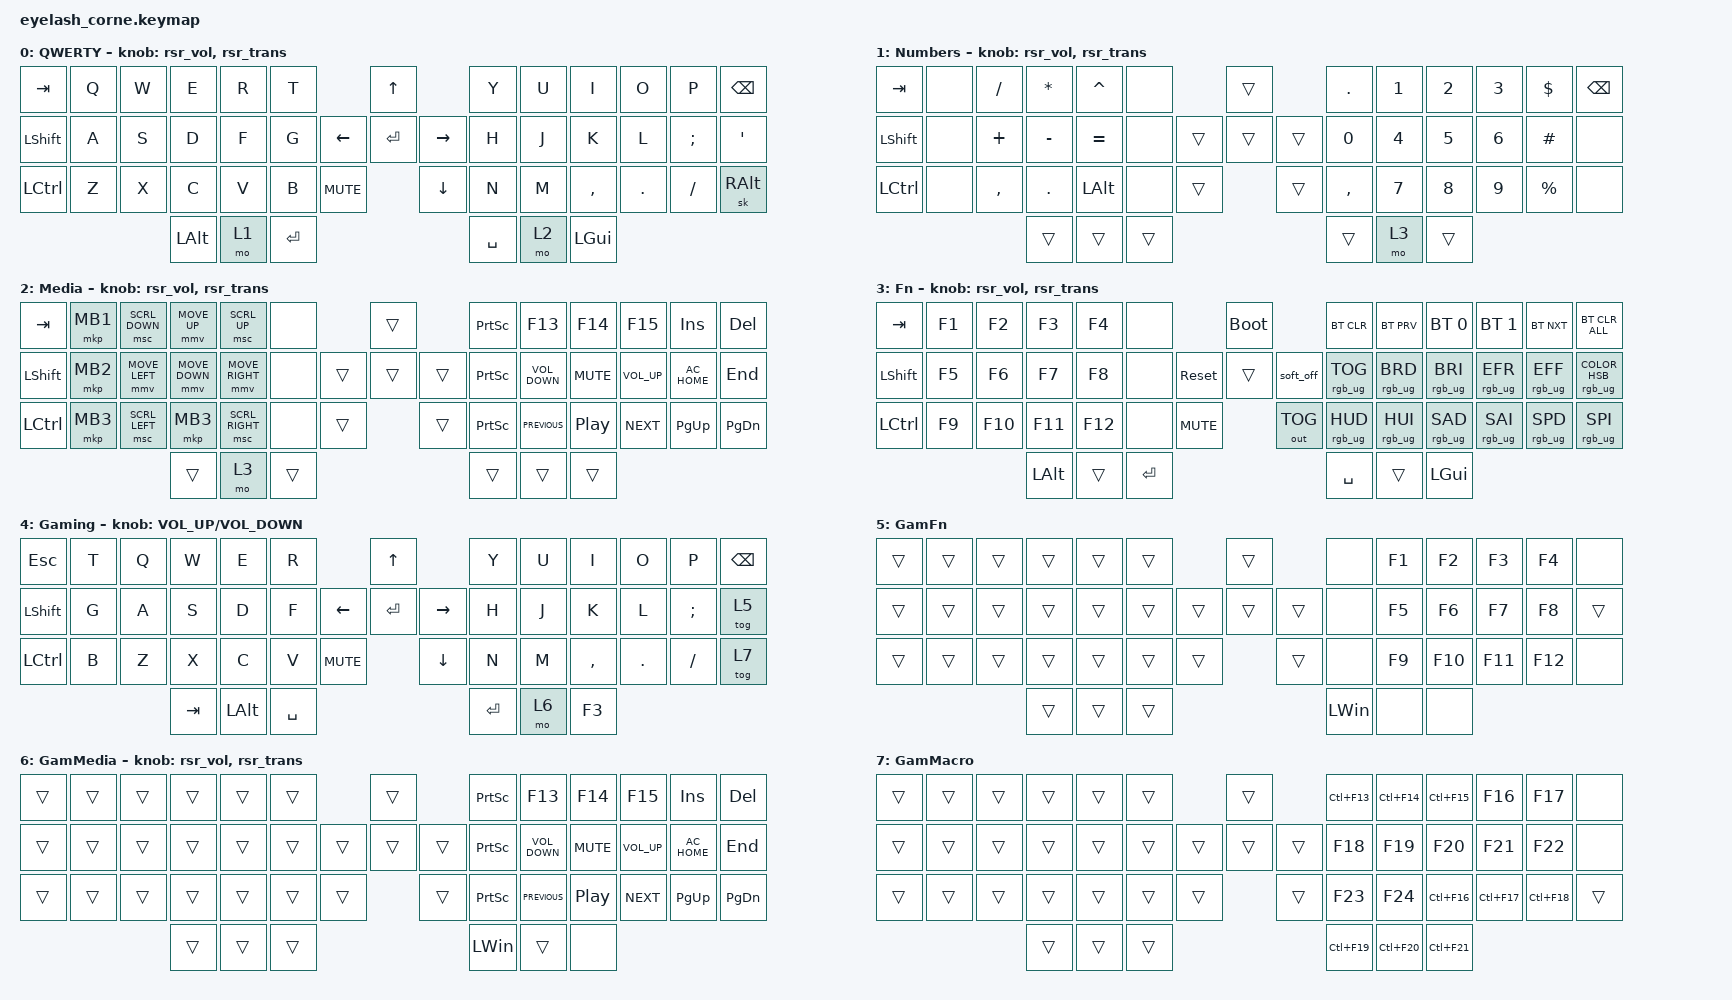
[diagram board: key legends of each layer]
#define ZMK_POINTING_DEFAULT_MOVE_VAL 1200  // 600
#define ZMK_POINTING_DEFAULT_SCRL_VAL 25   // 10

#include <input/processors.dtsi>
#include <zephyr/dt-bindings/input/input-event-codes.h>
#include <behaviors/runtime-sensor-rotate.dtsi>
#include <behaviors.dtsi>
#include <dt-bindings/zmk/bt.h>
#include <dt-bindings/zmk/keys.h>
#include <dt-bindings/zmk/outputs.h>
#include <dt-bindings/zmk/pointing.h>
#include <dt-bindings/zmk/rgb.h>

&mmv_input_listener { input-processors = <&zip_xy_scaler 2 1>; };

&msc_input_listener { input-processors = <&zip_scroll_scaler 2 1>; };

&msc {
    acceleration-exponent = <1>;      // 0
    time-to-max-speed-ms = <100>;       // 300
    delay-ms = <0>;                   // 0
};

&mmv {
    time-to-max-speed-ms = <500>;
    acceleration-exponent = <1>;
    trigger-period-ms = <16>;
};

&soft_off { hold-time-ms = <2000>; };

/ {
    behaviors {
        td0: td0 {
            compatible = "zmk,behavior-tap-dance";
            display-name = "Shift/Caps Lock Tap Dance";
            #binding-cells = <0>;
            bindings = <&kp LEFT_SHIFT>, <&kp CAPS>;
        };
    };

    rgb_encoder: rgb_encoder {
        compatible = "zmk,behavior-sensor-rotate";
        #sensor-binding-cells = <0>;
        bindings = <&rgb_ug RGB_BRI>, <&rgb_ug RGB_BRD>;
    };

    scroll_encoder: scroll_encoder {
        compatible = "zmk,behavior-sensor-rotate";
        #sensor-binding-cells = <0>;
        bindings = <&msc SCRL_DOWN>, <&msc SCRL_UP>;

        tap-ms = <100>;
    };

    behaviors {
        rsr_vol: rsr_vol {
            compatible = "zmk,behavior-runtime-sensor-rotate";
            #sensor-binding-cells = <0>;
            tap-ms = <5>;
            cw-binding = <&kp C_VOL_UP>;
            ccw-binding = <&kp C_VOL_DN>;
        };

        rsr_trans: rsr_trans {
            compatible = "zmk,behavior-runtime-sensor-rotate";
            #sensor-binding-cells = <0>;
            tap-ms = <0>;
        };
    };

    combos {
        compatible = "zmk,combos";

        softoff {
            bindings = <&soft_off>;
            key-positions = <1 15 29>;
        };

        leftpar {
            bindings = <&kp LEFT_PARENTHESIS>;
            key-positions = <16 17>;
            timeout-ms = <60>;
            require-prior-idle-ms = <30>;
            layers = <0>;
        };

        rightpar {
            bindings = <&kp RIGHT_PARENTHESIS>;
            key-positions = <23 24>;
            timeout-ms = <60>;
            require-prior-idle-ms = <30>;
            layers = <0>;
        };

        leftbrack {
            bindings = <&kp LEFT_BRACKET>;
            key-positions = <3 4>;
            timeout-ms = <35>;
            require-prior-idle-ms = <150>;
            layers = <0>;
        };

        rightbrack {
            bindings = <&kp RIGHT_BRACKET>;
            key-positions = <8 9>;
            timeout-ms = <60>;
            require-prior-idle-ms = <30>;
            layers = <0>;
        };

        leftbrace {
            bindings = <&kp LEFT_BRACE>;
            key-positions = <31 32>;
            timeout-ms = <60>;
            require-prior-idle-ms = <30>;
            layers = <0>;
        };

        rightbrace {
            bindings = <&kp RIGHT_BRACE>;
            key-positions = <37 38>;
            timeout-ms = <60>;
            require-prior-idle-ms = <30>;
            layers = <0>;
        };

        graveaccent {
            bindings = <&kp GRAVE>;
            key-positions = <15 16>;
            timeout-ms = <60>;
            require-prior-idle-ms = <30>;
            layers = <0>;
        };

        tilde {
            bindings = <&kp TILDE>;
            key-positions = <30 31>;
            timeout-ms = <60>;
            require-prior-idle-ms = <30>;
            layers = <0>;
        };

        backslash {
            bindings = <&kp BACKSLASH>;
            key-positions = <24 25>;
            timeout-ms = <60>;
            require-prior-idle-ms = <30>;
            layers = <0>;
        };

        pipe {
            bindings = <&kp PIPE>;
            key-positions = <39 38>;
            timeout-ms = <60>;
            require-prior-idle-ms = <30>;
            layers = <0>;
        };

        exclamation {
            bindings = <&kp EXCL>;
            key-positions = <4 8>;
            timeout-ms = <40>;
            require-prior-idle-ms = <140>;
            layers = <0>;
        };

        atsign {
            bindings = <&kp AT>;
            key-positions = <17 23>;
            timeout-ms = <60>;
            require-prior-idle-ms = <30>;
            layers = <0>;
        };

        plus {
            bindings = <&kp PLUS>;
            key-positions = <32 37>;
            timeout-ms = <60>;
            require-prior-idle-ms = <30>;
            layers = <0>;
        };

        dollar {
            bindings = <&kp DOLLAR>;
            key-positions = <3 9>;
            timeout-ms = <45>;
            require-prior-idle-ms = <80>;
            layers = <0>;
        };

        equal {
            bindings = <&kp EQUAL>;
            key-positions = <16 24>;
            timeout-ms = <60>;
            require-prior-idle-ms = <30>;
            layers = <0>;
        };

        star {
            bindings = <&kp STAR>;
            key-positions = <31 38>;
            layers = <0>;
            timeout-ms = <60>;
            require-prior-idle-ms = <30>;
        };

        hash {
            bindings = <&kp HASH>;
            key-positions = <5 7>;
            timeout-ms = <60>;
            require-prior-idle-ms = <30>;
            layers = <0>;
        };

        minus {
            bindings = <&kp MINUS>;
            key-positions = <18 22>;
            timeout-ms = <60>;
            require-prior-idle-ms = <30>;
            layers = <0>;
        };

        underscore {
            bindings = <&kp UNDER>;
            key-positions = <33 36>;
            timeout-ms = <60>;
            require-prior-idle-ms = <30>;
            layers = <0>;
        };

        ampersand {
            bindings = <&kp AMPERSAND>;
            key-positions = <2 10>;
            timeout-ms = <35>;
            require-prior-idle-ms = <135>;
            layers = <0>;
        };

        percent {
            bindings = <&kp PERCENT>;
            key-positions = <15 25>;
            timeout-ms = <60>;
            require-prior-idle-ms = <30>;
            layers = <0>;
        };

        caret {
            bindings = <&kp CARET>;
            key-positions = <30 39>;
            timeout-ms = <60>;
            require-prior-idle-ms = <30>;
            layers = <0>;
        };

        escape {
            bindings = <&kp ESCAPE>;
            key-positions = <0 1>;
            timeout-ms = <60>;
            require-prior-idle-ms = <150>;
            layers = <0>;
        };

        ToGaming {
            bindings = <&to 4>;
            key-positions = <0 12>;
            timeout-ms = <100>;
            require-prior-idle-ms = <150>;
            layers = <0>;
        };

        ToQwerty {
            bindings = <&to 0>;
            key-positions = <0 12>;
            timeout-ms = <100>;
            require-prior-idle-ms = <150>;
            layers = <4 5 6 7>;
        };
    };

    macros {
        starf1: ctrlf13 {
            compatible = "zmk,behavior-macro";
            #binding-cells = <0>;
            bindings =
                <&macro_press>,
                <&kp STAR>,
                <&macro_tap>,
                <&kp F1>,
                <&macro_release>,
                <&kp STAR>;

            label = "CTRLF13";
        };
    };

    keymap {
        compatible = "zmk,keymap";

        default_layer {
            display-name = "QWERTY";
            bindings = <
&kp TAB    &kp Q  &kp W  &kp E     &kp R  &kp T                              &kp UP                &kp Y      &kp U  &kp I      &kp O    &kp P     &kp BSPC
&kp LSHFT  &kp A  &kp S  &kp D     &kp F  &kp G                    &kp LEFT  &kp ENTER  &kp RIGHT  &kp H      &kp J  &kp K      &kp L    &kp SEMI  &kp SQT
&kp LCTRL  &kp Z  &kp X  &kp C     &kp V  &kp B      &kp C_MUTE              &kp DOWN              &kp N      &kp M  &kp COMMA  &kp DOT  &kp FSLH  &sk RALT
                         &kp LALT  &mo 1  &kp ENTER                                                &kp SPACE  &mo 2  &kp LGUI
            >;

            sensor-bindings = <&rsr_vol &rsr_trans>;
        };

        layer_1 {
            display-name = "Numbers";
            bindings = <
&kp TAB    &none  &kp SLASH  &kp STAR   &kp CARET  &none                     &trans          &kp DOT    &kp N1  &kp N2  &kp N3  &kp DOLLAR   &kp BSPC
&kp LSHFT  &none  &kp PLUS   &kp MINUS  &kp EQUAL  &none             &trans  &trans  &trans  &kp N0     &kp N4  &kp N5  &kp N6  &kp HASH     &none
&kp LCTRL  &none  &kp COMMA  &kp DOT    &kp LALT   &none   &trans            &trans          &kp COMMA  &kp N7  &kp N8  &kp N9  &kp PERCENT  &none
                             &trans     &trans     &trans                                    &trans     &mo 3   &trans
            >;

            sensor-bindings = <&rsr_vol &rsr_trans>;
        };

        layer_2 {
            display-name = "Media";
            bindings = <
&kp TAB    &mkp MB1  &msc SCRL_DOWN  &mmv MOVE_UP    &msc SCRL_UP     &none                     &trans          &kp PRINTSCREEN  &kp F13            &kp F14           &kp F15          &kp INS        &kp DELETE
&kp LSHFT  &mkp MB2  &mmv MOVE_LEFT  &mmv MOVE_DOWN  &mmv MOVE_RIGHT  &none             &trans  &trans  &trans  &kp PRINTSCREEN  &kp C_VOLUME_DOWN  &kp C_MUTE        &kp C_VOLUME_UP  &kp C_AC_HOME  &kp END
&kp LCTRL  &mkp MB3  &msc SCRL_LEFT  &mkp MB3        &msc SCRL_RIGHT  &none   &trans            &trans          &kp PRINTSCREEN  &kp C_PREVIOUS     &kp C_PLAY_PAUSE  &kp C_NEXT       &kp PAGE_UP    &kp PAGE_DOWN
                                     &trans          &mo 3            &trans                                    &trans           &trans             &trans
            >;

            sensor-bindings = <&rsr_vol &rsr_trans>;
        };

        layer_3 {
            display-name = "Fn";
            bindings = <
&kp TAB    &kp F1  &kp F2   &kp F3    &kp F4   &none                                &bootloader              &bt BT_CLR       &bt BT_PRV       &bt BT_SEL 0     &bt BT_SEL 1     &bt BT_NXT       &bt BT_CLR_ALL
&kp LSHFT  &kp F5  &kp F6   &kp F7    &kp F8   &none                    &sys_reset  &trans        &soft_off  &rgb_ug RGB_TOG  &rgb_ug RGB_BRD  &rgb_ug RGB_BRI  &rgb_ug RGB_EFR  &rgb_ug RGB_EFF  &rgb_ug RGB_COLOR_HSB(28,100,50)
&kp LCTRL  &kp F9  &kp F10  &kp F11   &kp F12  &none      &kp C_MUTE                &out OUT_TOG             &rgb_ug RGB_HUD  &rgb_ug RGB_HUI  &rgb_ug RGB_SAD  &rgb_ug RGB_SAI  &rgb_ug RGB_SPD  &rgb_ug RGB_SPI
                            &kp LALT  &trans   &kp ENTER                                                     &kp SPACE        &trans           &kp LGUI
            >;

            sensor-bindings = <&rsr_vol &rsr_trans>;
        };

        layer_4 {
            bindings = <
&kp ESC    &kp T  &kp Q  &kp W    &kp E     &kp R                                    &kp UP_ARROW                     &kp Y      &kp U  &kp I      &kp O    &kp P     &kp BACKSPACE
&kp LSHFT  &kp G  &kp A  &kp S    &kp D     &kp F                    &kp LEFT_ARROW  &kp ENTER       &kp RIGHT_ARROW  &kp H      &kp J  &kp K      &kp L    &kp SEMI  &tog 5
&kp LCTRL  &kp B  &kp Z  &kp X    &kp C     &kp V      &kp C_MUTE                    &kp DOWN_ARROW                   &kp N      &kp M  &kp COMMA  &kp DOT  &kp FSLH  &tog 7
                         &kp TAB  &kp LALT  &kp SPACE                                                                 &kp ENTER  &mo 6  &kp F3
            >;

            sensor-bindings = <&inc_dec_kp C_VOLUME_UP C_VOLUME_DOWN>;
            label = "Gaming";
        };

        layer_5 {
            bindings = <
&trans  &trans  &trans  &trans  &trans  &trans                    &trans          &none         &kp F1  &kp F2   &kp F3   &kp F4   &none
&trans  &trans  &trans  &trans  &trans  &trans            &trans  &trans  &trans  &none         &kp F5  &kp F6   &kp F7   &kp F8   &trans
&trans  &trans  &trans  &trans  &trans  &trans  &trans            &trans          &none         &kp F9  &kp F10  &kp F11  &kp F12  &none
                        &trans  &trans  &trans                                    &kp LEFT_WIN  &none   &none
            >;

            label = "GamFn";
        };

        layer_6 {
            display-name = "GamMedia";
            bindings = <
&trans  &trans  &trans  &trans  &trans  &trans                    &trans          &kp PRINTSCREEN  &kp F13            &kp F14           &kp F15          &kp INS        &kp DELETE
&trans  &trans  &trans  &trans  &trans  &trans            &trans  &trans  &trans  &kp PRINTSCREEN  &kp C_VOLUME_DOWN  &kp C_MUTE        &kp C_VOLUME_UP  &kp C_AC_HOME  &kp END
&trans  &trans  &trans  &trans  &trans  &trans  &trans            &trans          &kp PRINTSCREEN  &kp C_PREVIOUS     &kp C_PLAY_PAUSE  &kp C_NEXT       &kp PAGE_UP    &kp PAGE_DOWN
                        &trans  &trans  &trans                                    &kp LEFT_WIN     &trans             &none
            >;

            sensor-bindings = <&rsr_vol>, <&rsr_trans>;
        };

        layer_7 {
            bindings = <
&trans  &trans  &trans  &trans  &trans  &trans                    &trans          &kp LC(F13)  &kp LC(F14)  &kp LC(F15)  &kp F16      &kp F17      &none
&trans  &trans  &trans  &trans  &trans  &trans            &trans  &trans  &trans  &kp F18      &kp F19      &kp F20      &kp F21      &kp F22      &none
&trans  &trans  &trans  &trans  &trans  &trans  &trans            &trans          &kp F23      &kp F24      &kp LC(F16)  &kp LC(F17)  &kp LC(F18)  &trans
                        &trans  &trans  &trans                                    &kp LC(F19)  &kp LC(F20)  &kp LC(F21)
            >;

            label = "GamMacro";
        };
    };
};
